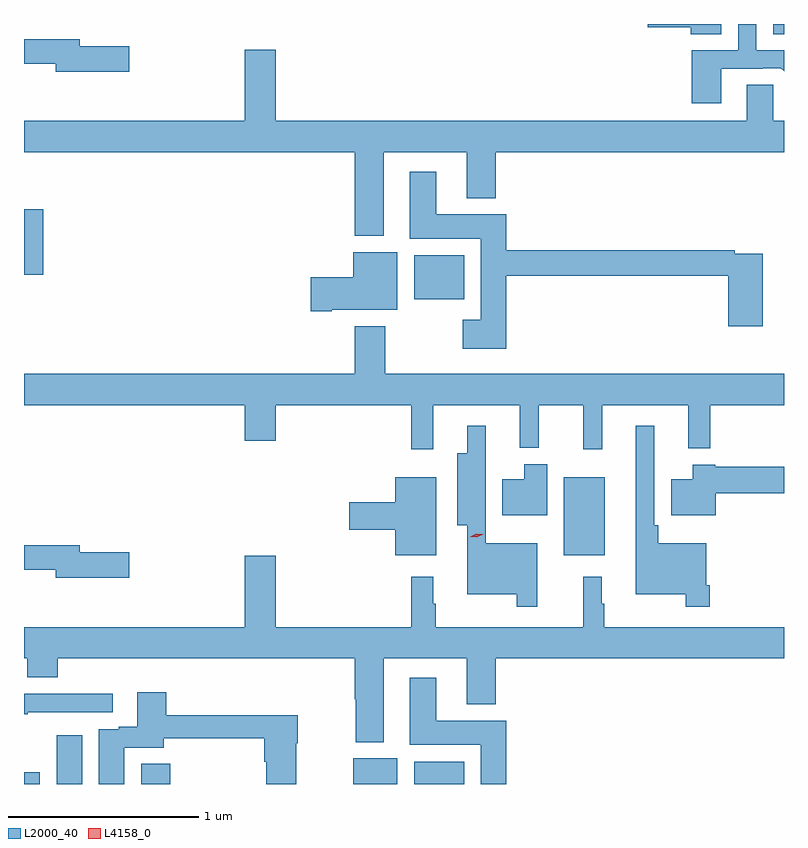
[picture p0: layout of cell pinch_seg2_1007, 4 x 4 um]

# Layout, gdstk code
import gdstk
lib = gdstk.Library(unit=1e-6, precision=1e-09)
def R(c, l, rs):  # rectangles x0, y0, x1, y1
    for r in rs: c.add(gdstk.rectangle(r[:2], r[2:], *l))
def P(c, l, *ps):  # polygons
    for p in ps: c.add(gdstk.Polygon(p, *l))
L2000_40 = (2000, 40)
L4158_0 = (4158, 0)

pinch_seg2_1007 = lib.new_cell('pinch_seg2_1007')
R(pinch_seg2_1007, L2000_40, [(331.678,607.014,331.762,607.075), (331.85,607.014,331.984,607.27), (332.294,607.014,332.447,607.121), (333.41,607.014,333.643,607.15), (333.731,607.014,333.994,607.132), (334.52,608.219,334.735,608.629), (333.731,609.566,333.994,609.796), (331.678,609.695,331.78,610.039), (335.621,610.96,335.678,611.014)])
P(pinch_seg2_1007, L2000_40, [(335.347,610.779),(335.567,610.779),(335.567,610.782),(335.661,610.782),(335.678,610.765),(335.678,610.875),(335.532,610.875),(335.532,611.014),(335.436,611.014),(335.436,610.875),(335.192,610.875),(335.192,610.596),(335.347,610.596)],
  [(335.347,611.014),(334.962,611.014),(334.962,610.997),(335.186,610.997),(335.186,610.96),(335.347,610.96)],
  [(332.233,610.898),(331.972,610.898),(331.972,610.934),(331.678,610.934),(331.678,610.806),(331.844,610.806),(331.844,610.763),(332.233,610.763)],
  [(335.483,610.694),(335.483,610.504),(333.004,610.504),(333.004,610.879),(332.84,610.879),(332.84,610.504),(331.678,610.504),(331.678,610.34),(333.419,610.34),(333.419,609.899),(333.571,609.899),(333.571,610.34),(334.007,610.34),(334.007,610.097),(334.16,610.097),(334.16,610.34),(335.678,610.34),(335.678,610.504),(335.622,610.504),(335.622,610.694)],
  [(334.217,609.688),(335.384,609.688),(335.384,609.423),(335.567,609.423),(335.567,609.804),(335.42,609.804),(335.42,609.824),(334.217,609.824),(334.217,610.012),(333.847,610.012),(333.847,610.237),(333.707,610.237),(333.707,609.884),(334.082,609.884),(334.082,609.457),(333.987,609.457),(333.987,609.305),(334.217,609.305)],
  [(333.298,609.509),(333.643,609.509),(333.643,609.814),(333.41,609.814),(333.41,609.68),(333.186,609.68),(333.186,609.502),(333.298,609.502)],
  [(333.831,609.008),(334.286,609.008),(334.286,608.783),(334.386,608.783),(334.386,609.008),(334.621,609.008),(334.621,608.775),(334.721,608.775),(334.721,609.008),(335.174,609.008),(335.174,608.78),(335.291,608.78),(335.291,609.008),(335.678,609.008),(335.678,609.172),(333.579,609.172),(333.579,609.424),(333.419,609.424),(333.419,609.172),(331.678,609.172),(331.678,609.008),(332.84,609.008),(332.84,608.82),(333.004,608.82),(333.004,609.008),(333.715,609.008),(333.715,608.775),(333.831,608.775)],
  [(335.288,608.059),(335.268,608.059),(335.268,608.281),(335.015,608.281),(335.015,608.377),(334.995,608.377),(334.995,608.899),(334.898,608.899),(334.898,608.012),(335.16,608.012),(335.16,607.947),(335.288,607.947)],
  [(334.38,608.281),(334.108,608.281),(334.108,608.613),(334.107,608.613),(334.107,608.899),(334.01,608.899),(334.01,608.755),(333.959,608.755),(333.959,608.375),(334.01,608.375),(334.01,608.012),(334.272,608.012),(334.272,607.947),(334.38,607.947)],
  [(334.432,608.698),(334.31,608.698),(334.31,608.617),(334.196,608.617),(334.196,608.429),(334.432,608.429)],
  [(335.32,608.543),(335.678,608.543),(335.678,608.685),(335.316,608.685),(335.316,608.695),(335.198,608.695),(335.198,608.617),(335.084,608.617),(335.084,608.429),(335.32,608.429)],
  [(333.847,608.629),(333.632,608.629),(333.632,608.498),(333.39,608.498),(333.39,608.351),(333.632,608.351),(333.632,608.219),(333.847,608.219)],
  [(332.233,608.234),(331.972,608.234),(331.972,608.27),(331.678,608.27),(331.678,608.142),(331.844,608.142),(331.844,608.099),(332.233,608.099)],
  [(334.007,607.433),(334.16,607.433),(334.16,607.676),(335.678,607.676),(335.678,607.84),(334.732,607.84),(334.732,607.964),(334.72,607.964),(334.72,608.104),(334.621,608.104),(334.621,607.84),(333.844,607.84),(333.844,607.964),(333.832,607.964),(333.832,608.104),(333.715,608.104),(333.715,607.84),(333.004,607.84),(333.004,608.215),(332.84,608.215),(332.84,607.84),(331.678,607.84),(331.678,607.676),(331.696,607.676),(331.696,607.577),(331.856,607.577),(331.856,607.676),(333.419,607.676),(333.419,607.461),(333.424,607.461),(333.424,607.235),(333.571,607.235),(333.571,607.676),(334.007,607.676)],
  [(334.217,607.348),(333.847,607.348),(333.847,607.573),(333.707,607.573),(333.707,607.22),(334.082,607.22),(334.082,607.014),(334.217,607.014)],
  [(332.206,607.206),(332.413,607.206),(332.413,607.254),(332.942,607.254),(332.942,607.131),(332.953,607.131),(332.953,607.014),(333.112,607.014),(333.112,607.229),(333.12,607.229),(333.12,607.375),(332.426,607.375),(332.426,607.498),(332.273,607.498),(332.273,607.315),(332.177,607.315),(332.177,607.302),(332.072,607.302),(332.072,607.014),(332.206,607.014)],
  [(331.699,607.392),(332.146,607.392),(332.146,607.488),(331.678,607.488),(331.678,607.38),(331.699,607.38)])
P(pinch_seg2_1007, L4158_0, [(334.062,608.312),(334.026,608.315),(334.026,608.315),(334.026,608.315),(334.058,608.332),(334.094,608.329),(334.095,608.329),(334.094,608.329)])

lib.write_gds('pinch_seg2_1007.gds')
